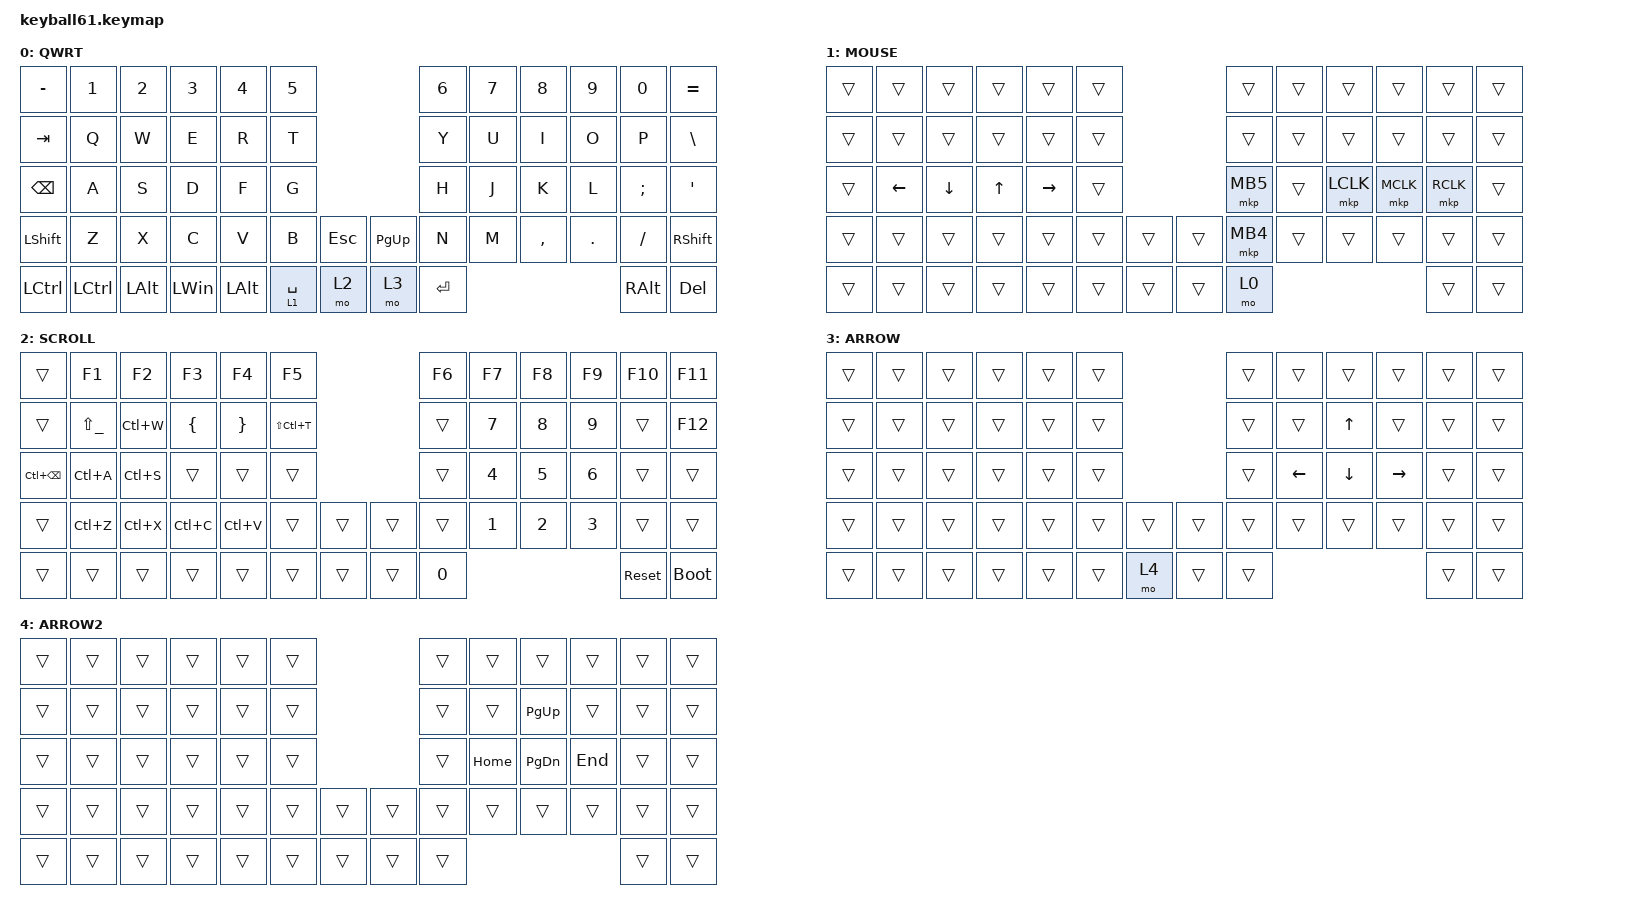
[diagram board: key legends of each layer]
#define DEFAULT 0
#define SYM     1
#define FUN     2
#define MOUSE   3
#define SCROLL  4
#define SNIPE   5

#include <behaviors/mouse_keys.dtsi>
#include <dt-bindings/zmk/mouse.h>
#include <behaviors.dtsi>
#include <dt-bindings/zmk/keys.h>
#include <dt-bindings/zmk/pointing.h>

&lt {
    tapping-term-ms = <240>;
    flavor = "balanced";
    quick-tap-ms = <150>;
};

&mt {
    tapping-term-ms = <200>;
    flavor = "tap-preferred";
    quick-tap-ms = <150>;
};

/ {
    keymap {
        compatible = "zmk,keymap";

        default_layer {
            label = "QWRT";
            bindings = <
&kp MINUS       &kp N1     &kp N2        &kp N3        &kp N4        &kp N5                             &kp N6     &kp N7  &kp N8     &kp N9   &kp N0         &kp EQUAL
&kp TAB         &kp Q      &kp W         &kp E         &kp R         &kp T                              &kp Y      &kp U   &kp I      &kp O    &kp P          &kp BACKSLASH
&kp BACKSPACE   &kp A      &kp S         &kp D         &kp F         &kp G                              &kp H      &kp J   &kp K      &kp L    &kp SEMI       &kp SQT
&kp LEFT_SHIFT  &kp Z      &kp X         &kp C         &kp V         &kp B        &kp ESC  &kp PAGE_UP  &kp N      &kp M   &kp COMMA  &kp DOT  &kp FSLH       &kp RIGHT_SHIFT
&kp LCTRL       &kp LCTRL  &kp LEFT_ALT  &kp LEFT_WIN  &kp LEFT_ALT  &lt 1 SPACE  &mo 2    &mo 3        &kp ENTER                              &kp RIGHT_ALT  &kp DELETE
            >;
        };

        mouse_layer {
            label = "MOUSE";
            bindings = <
&trans  &trans    &trans    &trans  &trans     &trans                  &trans    &trans  &trans     &trans     &trans     &trans
&trans  &trans    &trans    &trans  &trans     &trans                  &trans    &trans  &trans     &trans     &trans     &trans
&trans  &kp LEFT  &kp DOWN  &kp UP  &kp RIGHT  &trans                  &mkp MB5  &trans  &mkp LCLK  &mkp MCLK  &mkp RCLK  &trans
&trans  &trans    &trans    &trans  &trans     &trans  &trans  &trans  &mkp MB4  &trans  &trans     &trans     &trans     &trans
&trans  &trans    &trans    &trans  &trans     &trans  &trans  &trans  &mo 0                                   &trans     &trans
            >;
        };

        scroll_layer {
            label = "SCROLL";
            bindings = <
&trans             &kp F1         &kp F2     &kp F3          &kp F4           &kp F5                         &kp F6  &kp F7  &kp F8  &kp F9  &kp F10     &kp F11
&trans             &kp LS(UNDER)  &kp LC(W)  &kp LEFT_BRACE  &kp RIGHT_BRACE  &kp LS(LC(T))                  &trans  &kp N7  &kp N8  &kp N9  &trans      &kp F12
&kp LC(BACKSPACE)  &kp LC(A)      &kp LC(S)  &trans          &trans           &trans                         &trans  &kp N4  &kp N5  &kp N6  &trans      &trans
&trans             &kp LC(Z)      &kp LC(X)  &kp LC(C)       &kp LC(V)        &trans         &trans  &trans  &trans  &kp N1  &kp N2  &kp N3  &trans      &trans
&trans             &trans         &trans     &trans          &trans           &trans         &trans  &trans  &kp N0                          &sys_reset  &bootloader
            >;
        };

        arrow_layer {
            bindings = <
&trans  &trans  &trans  &trans  &trans  &trans                  &trans  &trans    &trans    &trans     &trans  &trans
&trans  &trans  &trans  &trans  &trans  &trans                  &trans  &trans    &kp UP    &trans     &trans  &trans
&trans  &trans  &trans  &trans  &trans  &trans                  &trans  &kp LEFT  &kp DOWN  &kp RIGHT  &trans  &trans
&trans  &trans  &trans  &trans  &trans  &trans  &trans  &trans  &trans  &trans    &trans    &trans     &trans  &trans
&trans  &trans  &trans  &trans  &trans  &trans  &mo 4   &trans  &trans                                 &trans  &trans
            >;

            label = "ARROW";
        };

        arrow_layer_2 {
            bindings = <
&trans  &trans  &trans  &trans  &trans  &trans                  &trans  &trans    &trans     &trans   &trans  &trans
&trans  &trans  &trans  &trans  &trans  &trans                  &trans  &trans    &kp PG_UP  &trans   &trans  &trans
&trans  &trans  &trans  &trans  &trans  &trans                  &trans  &kp HOME  &kp PG_DN  &kp END  &trans  &trans
&trans  &trans  &trans  &trans  &trans  &trans  &trans  &trans  &trans  &trans    &trans     &trans   &trans  &trans
&trans  &trans  &trans  &trans  &trans  &trans  &trans  &trans  &trans                                &trans  &trans
            >;

            label = "ARROW2";
        };
    };
};
